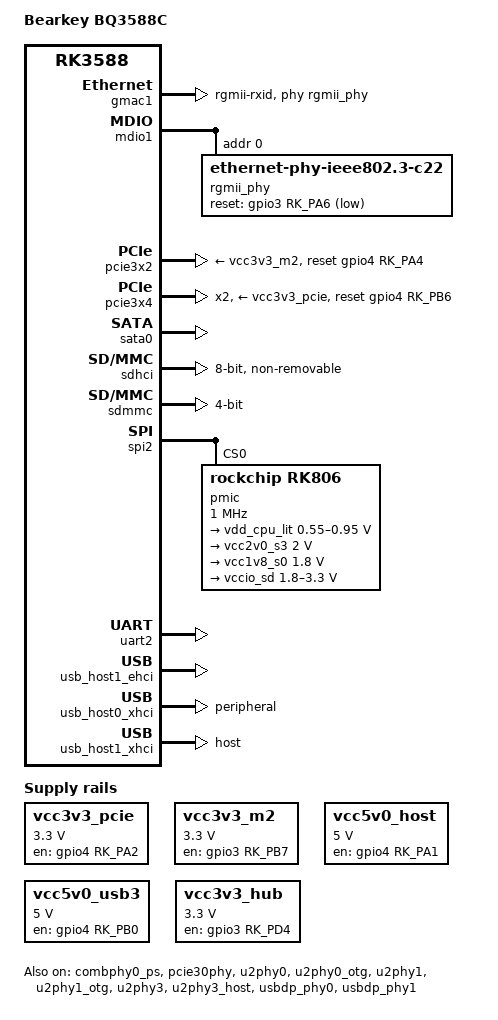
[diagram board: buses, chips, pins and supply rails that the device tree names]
// SPDX-License-Identifier: (GPL-2.0+ OR MIT)
/dts-v1/;

#include <dt-bindings/gpio/gpio.h>
#include <dt-bindings/pinctrl/rockchip.h>
#include "rk3588.dtsi"

/ {
	model = "Bearkey BQ3588C";
	compatible = "bearkey,bq3588c", "rockchip,rk3588";

	aliases {
		ethernet0 = &gmac1;
		mmc0 = &sdhci;
		mmc1 = &sdmmc;
	};

	chosen {
		stdout-path = "serial2:1500000n8";
	};

	vcc3v3_pcie: regulator-vcc3v3-pcie {
		compatible = "regulator-fixed";
		regulator-name = "vcc3v3_pcie30";
		regulator-min-microvolt = <3300000>;
		regulator-max-microvolt = <3300000>;
		gpio = <&gpio4 RK_PA2 GPIO_ACTIVE_HIGH>;
		enable-active-high;
		startup-delay-us = <5000>;
	};

	vcc3v3_m2: regulator-vcc3v3-m2 {
		compatible = "regulator-fixed";
		regulator-name = "vcc3v3_m2";
		regulator-min-microvolt = <3300000>;
		regulator-max-microvolt = <3300000>;
		gpio = <&gpio3 RK_PB7 GPIO_ACTIVE_HIGH>;
		enable-active-high;
		startup-delay-us = <5000>;
	};

	vcc5v0_host: regulator-vcc5v0-host {
		compatible = "regulator-fixed";
		regulator-name = "vcc5v0_host";
		regulator-min-microvolt = <5000000>;
		regulator-max-microvolt = <5000000>;
		gpio = <&gpio4 RK_PA1 GPIO_ACTIVE_HIGH>;
		enable-active-high;
		regulator-always-on;
		regulator-boot-on;
	};

	vcc5v0_usb3: regulator-vcc5v0-usb3 {
		compatible = "regulator-fixed";
		regulator-name = "vcc5v0_usb3";
		regulator-min-microvolt = <5000000>;
		regulator-max-microvolt = <5000000>;
		gpio = <&gpio4 RK_PB0 GPIO_ACTIVE_HIGH>;
		enable-active-high;
		regulator-always-on;
		regulator-boot-on;
	};

	vcc3v3_hub: regulator-vcc3v3-hub {
		compatible = "regulator-fixed";
		regulator-name = "vcc3v3_hub";
		regulator-min-microvolt = <3300000>;
		regulator-max-microvolt = <3300000>;
		gpio = <&gpio3 RK_PD4 GPIO_ACTIVE_HIGH>;
		enable-active-high;
		regulator-always-on;
		regulator-boot-on;
	};
};

&combphy0_ps {
	status = "okay";
};

&gmac1 {
	clock_in_out = "output";
	phy-handle = <&rgmii_phy>;
	phy-mode = "rgmii-rxid";
	pinctrl-names = "default";
	pinctrl-0 = <&gmac1_miim &gmac1_tx_bus2 &gmac1_rx_bus2
		     &gmac1_rgmii_clk &gmac1_rgmii_bus>;
	tx_delay = <0x33>;
	status = "okay";
};

&mdio1 {
	rgmii_phy: ethernet-phy@0 {
		compatible = "ethernet-phy-ieee802.3-c22";
		reg = <0>;
		reset-gpios = <&gpio3 RK_PA6 GPIO_ACTIVE_LOW>;
		reset-assert-us = <20000>;
		reset-deassert-us = <100000>;
	};
};

&pcie30phy {
	data-lanes = <1 1 2 2>;
	status = "okay";
};

&pcie3x2 {
	reset-gpios = <&gpio4 RK_PA4 GPIO_ACTIVE_HIGH>;
	vpcie3v3-supply = <&vcc3v3_m2>;
	status = "okay";
};

&pcie3x4 {
	num-lanes = <2>;
	reset-gpios = <&gpio4 RK_PB6 GPIO_ACTIVE_HIGH>;
	vpcie3v3-supply = <&vcc3v3_pcie>;
	status = "okay";
};

&sata0 {
	status = "okay";
};

&sdhci {
	/delete-property/ supports-cqe;
	bus-width = <8>;
	mmc-hs400-1_8v;
	mmc-hs400-enhanced-strobe;
	no-sd;
	no-sdio;
	non-removable;
	status = "okay";
};

&sdmmc {
	bus-width = <4>;
	cap-sd-highspeed;
	disable-wp;
	no-mmc;
	no-sdio;
	pinctrl-names = "default";
	pinctrl-0 = <&sdmmc_bus4 &sdmmc_clk &sdmmc_cmd &sdmmc_det>;
	vqmmc-supply = <&vccio_sd>;
	status = "okay";
};

&spi2 {
	assigned-clocks = <&cru CLK_SPI2>;
	assigned-clock-rates = <200000000>;
	num-cs = <1>;
	pinctrl-names = "default";
	pinctrl-0 = <&spi2m2_cs0 &spi2m2_pins>;
	status = "okay";

	pmic@0 {
		compatible = "rockchip,rk806";
		reg = <0>;
		spi-max-frequency = <1000000>;
		system-power-controller;

		regulators {
			vdd_cpu_lit: dcdc-reg2 {
				regulator-name = "vdd_cpu_lit_s0";
				regulator-min-microvolt = <550000>;
				regulator-max-microvolt = <950000>;
				regulator-ramp-delay = <12500>;
				regulator-always-on;
			};

			vcc2v0_s3: dcdc-reg7 {
				regulator-name = "vdd_2v0_pldo_s3";
				regulator-min-microvolt = <2000000>;
				regulator-max-microvolt = <2000000>;
				regulator-always-on;
			};

			vcc1v8_s0: pldo-reg2 {
				regulator-name = "vcc_1v8_s0";
				regulator-min-microvolt = <1800000>;
				regulator-max-microvolt = <1800000>;
				regulator-always-on;
			};

			vccio_sd: pldo-reg5 {
				regulator-name = "vccio_sd_s0";
				regulator-min-microvolt = <1800000>;
				regulator-max-microvolt = <3300000>;
				regulator-always-on;
			};
		};
	};
};

&uart2 {
	pinctrl-names = "default";
	pinctrl-0 = <&uart2m0_xfer>;
	status = "okay";
};

&u2phy0 { status = "okay"; };
&u2phy0_otg { status = "okay"; };
&u2phy1 { status = "okay"; };
&u2phy1_otg { status = "okay"; };
&u2phy3 { status = "okay"; };
&u2phy3_host { status = "okay"; };
&usbdp_phy0 { status = "okay"; };
&usbdp_phy1 { status = "okay"; };
&usb_host1_ehci { status = "okay"; };

&usb_host0_xhci {
	dr_mode = "peripheral";
	status = "okay";
};

&usb_host1_xhci {
	dr_mode = "host";
	status = "okay";
};
